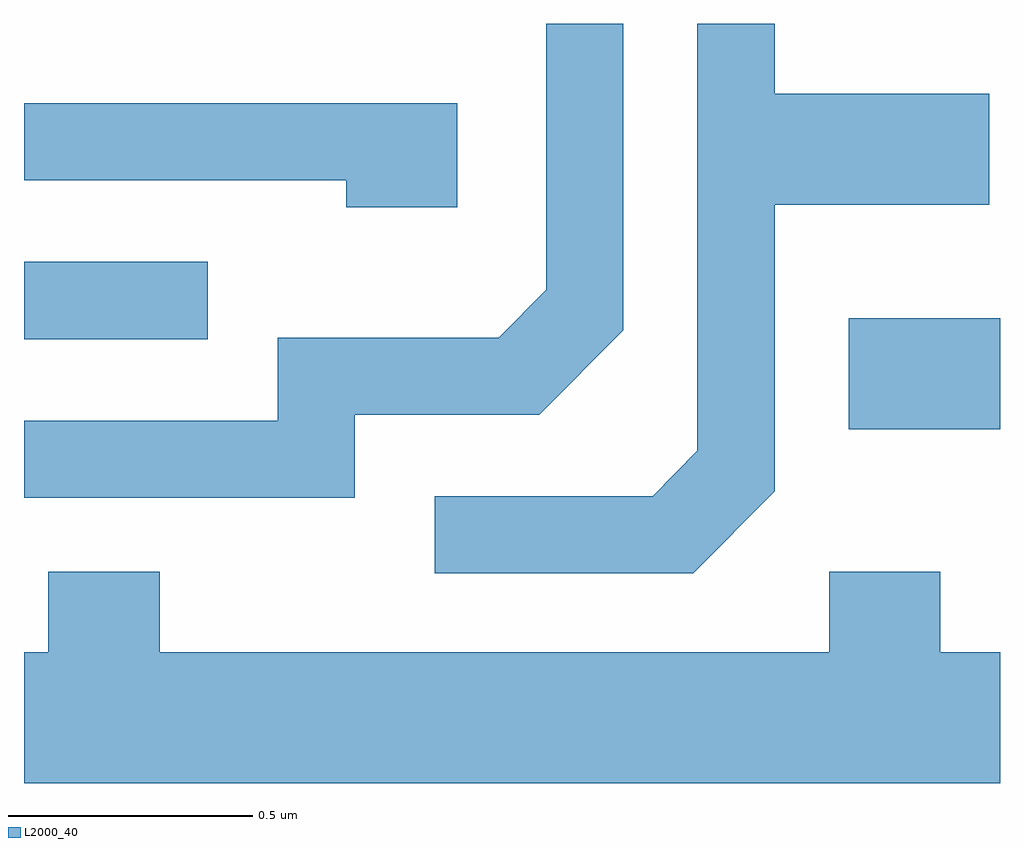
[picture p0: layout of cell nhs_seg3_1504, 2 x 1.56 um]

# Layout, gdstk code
import gdstk
lib = gdstk.Library(unit=1e-6, precision=1e-09)
def R(c, l, rs):  # rectangles x0, y0, x1, y1
    for r in rs: c.add(gdstk.rectangle(r[:2], r[2:], *l))
def P(c, l, *ps):  # polygons
    for p in ps: c.add(gdstk.Polygon(p, *l))
L2000_40 = (2000, 40)

nhs_seg3_1504 = lib.new_cell('nhs_seg3_1504')
R(nhs_seg3_1504, L2000_40, [(197.301,1251.061,197.611,1251.289), (195.611,1251.246,195.988,1251.404)])
P(nhs_seg3_1504, L2000_40, [(197.149,1250.934),(197.149,1251.521),(197.589,1251.521),(197.589,1251.749),(197.149,1251.749),(197.149,1251.892),(196.991,1251.892),(196.991,1251.017),(196.899,1250.924),(196.453,1250.924),(196.453,1250.766),(196.982,1250.766)],
  [(196.289,1251.091),(196.667,1251.091),(196.839,1251.264),(196.839,1251.892),(196.681,1251.892),(196.681,1251.347),(196.584,1251.249),(196.131,1251.249),(196.131,1251.079),(195.611,1251.079),(195.611,1250.921),(196.289,1250.921)],
  [(196.499,1251.729),(195.611,1251.729),(195.611,1251.571),(196.271,1251.571),(196.271,1251.516),(196.499,1251.516)],
  [(197.611,1250.604),(197.489,1250.604),(197.489,1250.769),(197.261,1250.769),(197.261,1250.604),(195.889,1250.604),(195.889,1250.769),(195.661,1250.769),(195.661,1250.604),(195.611,1250.604),(195.611,1250.336),(197.611,1250.336)])

lib.write_gds('nhs_seg3_1504.gds')
